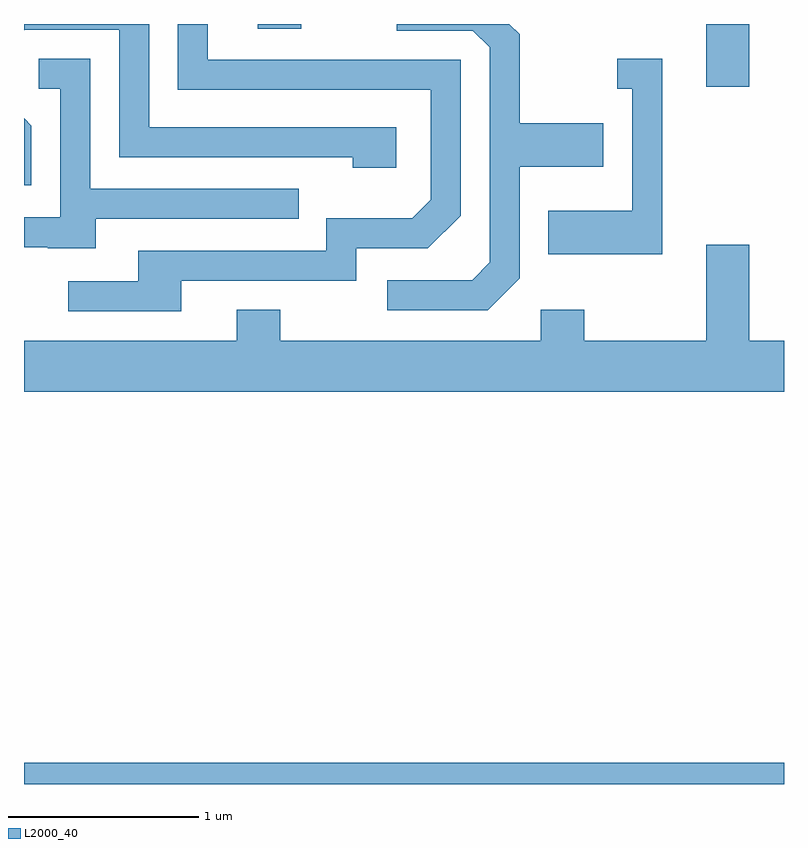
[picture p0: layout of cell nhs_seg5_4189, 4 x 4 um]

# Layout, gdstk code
import gdstk
lib = gdstk.Library(unit=1e-6, precision=1e-09)
def R(c, l, rs):  # rectangles x0, y0, x1, y1
    for r in rs: c.add(gdstk.rectangle(r[:2], r[2:], *l))
def P(c, l, *ps):  # polygons
    for p in ps: c.add(gdstk.Polygon(p, *l))
L2000_40 = (2000, 40)

nhs_seg5_4189 = lib.new_cell('nhs_seg5_4189')
R(nhs_seg5_4189, L2000_40, [(309.611,1448.072,313.611,1448.184), (313.201,1451.741,313.429,1452.072), (310.841,1452.046,311.069,1452.072)])
P(nhs_seg5_4189, L2000_40, [(310.439,1450.721),(311.359,1450.721),(311.359,1450.891),(311.737,1450.891),(311.909,1451.064),(311.909,1451.884),(310.579,1451.884),(310.579,1452.072),(310.421,1452.072),(310.421,1451.726),(311.751,1451.726),(311.751,1451.147),(311.654,1451.049),(311.201,1451.049),(311.201,1450.879),(310.211,1450.879),(310.211,1450.719),(309.843,1450.719),(309.843,1450.561),(310.439,1450.561)],
  [(312.219,1450.734),(312.219,1451.321),(312.659,1451.321),(312.659,1451.549),(312.219,1451.549),(312.219,1452.017),(312.164,1452.072),(311.573,1452.072),(311.573,1452.036),(311.974,1452.036),(312.061,1451.949),(312.061,1450.817),(311.969,1450.724),(311.523,1450.724),(311.523,1450.566),(312.052,1450.566)],
  [(311.569,1451.529),(310.269,1451.529),(310.269,1452.072),(309.611,1452.072),(309.611,1452.04),(309.612,1452.041),(310.111,1452.041),(310.111,1451.371),(311.341,1451.371),(311.341,1451.316),(311.569,1451.316)],
  [(309.989,1451.046),(311.058,1451.046),(311.058,1451.204),(309.959,1451.204),(309.959,1451.889),(309.688,1451.889),(309.688,1451.731),(309.801,1451.731),(309.801,1451.054),(309.611,1451.054),(309.611,1450.896),(309.735,1450.896),(309.735,1450.891),(309.989,1450.891)],
  [(312.969,1451.889),(312.733,1451.889),(312.733,1451.731),(312.811,1451.731),(312.811,1451.089),(312.371,1451.089),(312.371,1450.861),(312.969,1450.861)],
  [(309.649,1451.537),(309.611,1451.575),(309.611,1451.223),(309.649,1451.223)],
  [(313.611,1450.404),(313.429,1450.404),(313.429,1450.909),(313.201,1450.909),(313.201,1450.404),(312.559,1450.404),(312.559,1450.569),(312.331,1450.569),(312.331,1450.404),(310.959,1450.404),(310.959,1450.569),(310.731,1450.569),(310.731,1450.404),(309.611,1450.404),(309.611,1450.136),(313.611,1450.136)])

lib.write_gds('nhs_seg5_4189.gds')
